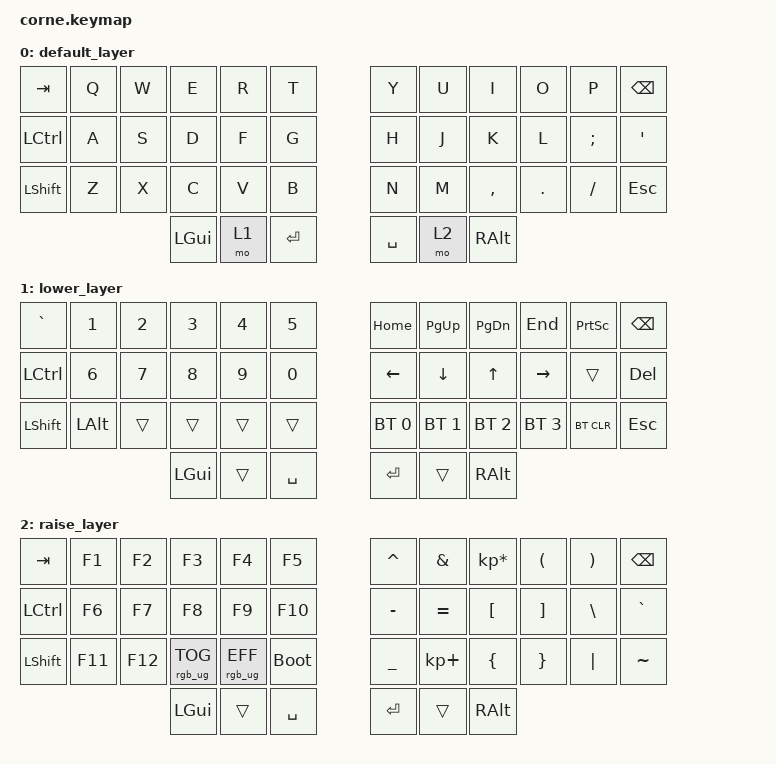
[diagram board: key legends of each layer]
/*
 * Copyright (c) 2020 The ZMK Contributors
 *
 * SPDX-License-Identifier: MIT
 */

#include <behaviors.dtsi>
#include <dt-bindings/zmk/bt.h>
#include <dt-bindings/zmk/keys.h>
#include <dt-bindings/zmk/rgb.h>

&led_strip { chain-length = <27>; };

/ {
    keymap {
        compatible = "zmk,keymap";

        default_layer {
            // -----------------------------------------------------------------------------------------
            // |  TAB |  Q  |  W  |  E  |  R  |  T  |   |  Y  |  U   |  I  |  O  |  P  | BKSP |
            // | CTRL |  A  |  S  |  D  |  F  |  G  |   |  H  |  J   |  K  |  L  |  ;  |  '   |
            // | SHFT |  Z  |  X  |  C  |  V  |  B  |   |  N  |  M   |  ,  |  .  |  /  | SHFT |
            //                    | GUI | LWR | ENT |   | SPC | RSE  | ALT |

            bindings = <
&kp TAB    &kp Q  &kp W  &kp E     &kp R  &kp T      &kp Y      &kp U  &kp I      &kp O    &kp P     &kp BSPC
&kp LCTRL  &kp A  &kp S  &kp D     &kp F  &kp G      &kp H      &kp J  &kp K      &kp L    &kp SEMI  &kp SQT
&kp LSHFT  &kp Z  &kp X  &kp C     &kp V  &kp B      &kp N      &kp M  &kp COMMA  &kp DOT  &kp FSLH  &kp ESC
                         &kp LGUI  &mo 1  &kp RET    &kp SPACE  &mo 2  &kp RALT
            >;
        };

        lower_layer {
            // -----------------------------------------------------------------------------------------
            // |  TAB |  1    |  2  |  3  |  4  |  5  |   |  6  |  7  |  8  |  9  |  0  | BKSP |
            // | LCTRL| BTCLR | BT0 | BT1 | BT2 | BT3 |   | LFT | DWN |  UP | RGT |     |      |
            // | ESC  |       | HOME| PGUP| PGDN| END |   |     |     |     |     |     |      |
            //                      | GUI |     | SPC |   | ENT |     | ALT |

            bindings = <
&kp GRAVE       &kp N1    &kp N2  &kp N3    &kp N4  &kp N5       &kp HOME      &kp PAGE_UP   &kp PAGE_DOWN  &kp END       &kp PRINTSCREEN  &kp BSPC
&kp LCTRL       &kp N6    &kp N7  &kp N8    &kp N9  &kp N0       &kp LEFT      &kp DOWN      &kp UP         &kp RIGHT     &trans           &kp DEL
&kp LEFT_SHIFT  &kp LALT  &trans  &trans    &trans  &trans       &bt BT_SEL 0  &bt BT_SEL 1  &bt BT_SEL 2   &bt BT_SEL 3  &bt BT_CLR       &kp ESC
                                  &kp LGUI  &trans  &kp SPACE    &kp RET       &trans        &kp RALT
            >;
        };

        raise_layer {
            // -----------------------------------------------------------------------------------------
            // |  TAB |   !   |   @   |   #   |   $   |   %   |   |  ^  |  &  |  *  |  (  |  )  | BKSP |
            // | CTRL |RGB_TOG|RGB_HUI|RGB_SAI|RGB_VAI|       |   |  -  |  =  |  [  |  ]  |  \  |  `   |
            // | SHFT |RGB_MOD|RGB_HUD|RGB_SAD|RGB_VAD|QK_BOOT|   |  _  |  +  |  {  |  }  | "|" |  ~   |
            //                            | GUI |     |  SPC  |   | ENT |     | ALT |

            bindings = <
&kp TAB    &kp F1   &kp F2   &kp F3           &kp F4           &kp F5         &kp CARET  &kp AMPS     &kp KP_MULTIPLY  &kp LPAR  &kp RPAR  &kp BSPC
&kp LCTRL  &kp F6   &kp F7   &kp F8           &kp F9           &kp F10        &kp MINUS  &kp EQUAL    &kp LBKT         &kp RBKT  &kp BSLH  &kp GRAVE
&kp LSHFT  &kp F11  &kp F12  &rgb_ug RGB_TOG  &rgb_ug RGB_EFF  &bootloader    &kp UNDER  &kp KP_PLUS  &kp LBRC         &kp RBRC  &kp PIPE  &kp TILDE
                             &kp LGUI         &trans           &kp SPACE      &kp RET    &trans       &kp RALT
            >;
        };
    };
};
